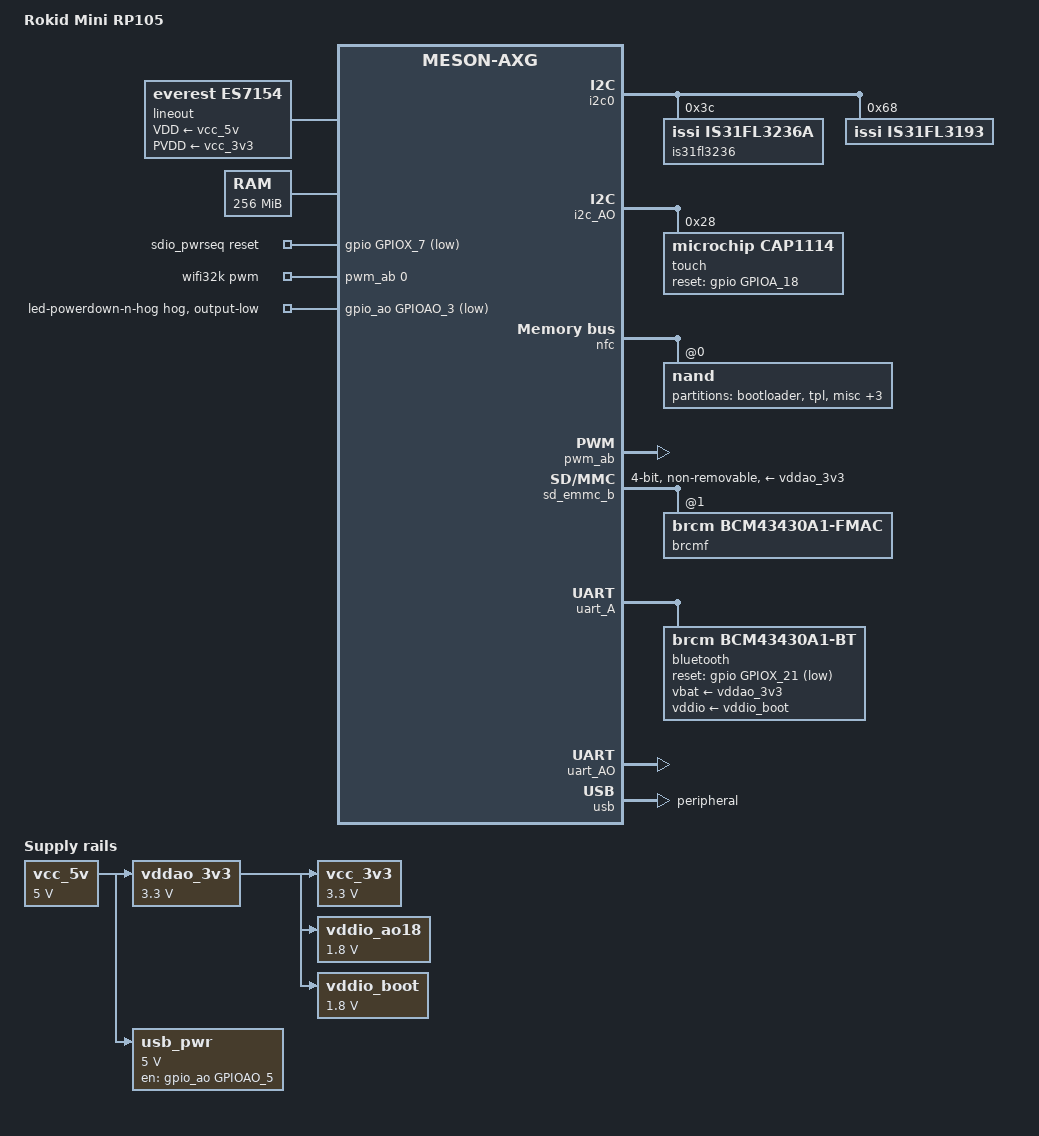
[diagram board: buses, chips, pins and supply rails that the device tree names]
// SPDX-License-Identifier: (GPL-2.0+ OR MIT)
/*
 * Copyright (c) 2026 Jun Yan <jerrysteve1101@gmail.com>
 */

/dts-v1/;

#include "meson-axg.dtsi"
#include <dt-bindings/leds/common.h>

/ {
	model = "Rokid Mini RP105";
	compatible = "lingban,rokid-mini-rp105", "amlogic,a113d", "amlogic,meson-axg";
	chassis-type = "embedded";

	aliases {
		serial0 = &uart_AO;
		ethernet0 = &brcmf;
	};

	lineout: audio-codec-1 {
		#sound-dai-cells = <0>;
		compatible = "everest,es7154";
		VDD-supply = <&vcc_5v>;
		PVDD-supply = <&vcc_3v3>;
		sound-name-prefix = "Lineout";
	};

	chosen {
		stdout-path = "serial0:115200n8";
	};

	/* 256MB RAM */
	memory@0 {
		device_type = "memory";
		reg = <0x0 0x0 0x0 0x10000000>;
	};

	vcc_3v3: regulator-vcc-3v3 {
		compatible = "regulator-fixed";
		regulator-name = "VCC_3V3";
		regulator-min-microvolt = <3300000>;
		regulator-max-microvolt = <3300000>;
		vin-supply = <&vddao_3v3>;
		regulator-always-on;
	};

	vcc_5v: regulator-vcc-5v {
		compatible = "regulator-fixed";
		regulator-name = "VCC5V";
		regulator-min-microvolt = <5000000>;
		regulator-max-microvolt = <5000000>;
		regulator-always-on;
	};

	vddao_3v3: regulator-vddao-3v3 {
		compatible = "regulator-fixed";
		regulator-name = "VDDAO_3V3";
		regulator-min-microvolt = <3300000>;
		regulator-max-microvolt = <3300000>;
		vin-supply = <&vcc_5v>;
		regulator-always-on;
	};

	vddio_ao18: regulator-vddio-ao18 {
		compatible = "regulator-fixed";
		regulator-name = "VDDIO_AO18";
		regulator-min-microvolt = <1800000>;
		regulator-max-microvolt = <1800000>;
		vin-supply = <&vddao_3v3>;
		regulator-always-on;
	};

	vddio_boot: regulator-vddio-boot {
		compatible = "regulator-fixed";
		regulator-name = "VDDIO_BOOT";
		regulator-min-microvolt = <1800000>;
		regulator-max-microvolt = <1800000>;
		vin-supply = <&vddao_3v3>;
		regulator-always-on;
	};

	usb_pwr: regulator-usb-pwr {
		compatible = "regulator-fixed";
		regulator-name = "USB_PWR";
		regulator-min-microvolt = <5000000>;
		regulator-max-microvolt = <5000000>;
		vin-supply = <&vcc_5v>;

		gpio = <&gpio_ao GPIOAO_5 GPIO_ACTIVE_HIGH>;
		enable-active-high;
	};

	sdio_pwrseq: sdio-pwrseq {
		compatible = "mmc-pwrseq-simple";
		clocks = <&wifi32k>;
		clock-names = "ext_clock";
		reset-gpios = <&gpio GPIOX_7 GPIO_ACTIVE_LOW>;
	};

	wifi32k: wifi32k {
		compatible = "pwm-clock";
		#clock-cells = <0>;
		clock-frequency = <32768>;
		pwms = <&pwm_ab 0 30518 0>; /* PWM_A at 32.768KHz */
	};
};

&gpio_ao {
	/*
	 * IS31FL3236 and IS31FL3193 share the same SDB GPIO pin.
	 * Drivers cannot control it concurrently, hence using GPIO hog.
	 */
	led-powerdown-n-hog {
		gpios = <GPIOAO_3 GPIO_ACTIVE_LOW>;
		gpio-hog;
		line-name = "led-powerdown-n-hog";
		output-low;
	};
};

&i2c0 {
	status = "okay";
	pinctrl-0 = <&i2c0_pins>;
	pinctrl-names = "default";

	is31fl3236: led-controller@3c {
		compatible = "issi,is31fl3236a";
		reg = <0x3c>;
		#address-cells = <1>;
		#size-cells = <0>;

		issi,22khz-pwm;

		/* Each set of three channels drives one RGB LED,
		with a total of 12 circular RGB LEDs connected.*/
		led@1 {
			reg = <1>;
			function = LED_FUNCTION_INDICATOR;
			color = <LED_COLOR_ID_GREEN>;
			function-enumerator = <1>;
		};

		led@2 {
			reg = <2>;
			function = LED_FUNCTION_INDICATOR;
			color = <LED_COLOR_ID_BLUE>;
			function-enumerator = <1>;
		};

		led@3 {
			reg = <3>;
			function = LED_FUNCTION_INDICATOR;
			color = <LED_COLOR_ID_RED>;
			function-enumerator = <1>;
		};

		led@4 {
			reg = <4>;
			function = LED_FUNCTION_INDICATOR;
			color = <LED_COLOR_ID_GREEN>;
			function-enumerator = <2>;
		};

		led@5 {
			reg = <5>;
			function = LED_FUNCTION_INDICATOR;
			color = <LED_COLOR_ID_BLUE>;
			function-enumerator = <2>;
		};

		led@6 {
			reg = <6>;
			function = LED_FUNCTION_INDICATOR;
			color = <LED_COLOR_ID_RED>;
			function-enumerator = <2>;
		};

		led@7 {
			reg = <7>;
			function = LED_FUNCTION_INDICATOR;
			color = <LED_COLOR_ID_GREEN>;
			function-enumerator = <3>;
		};

		led@8 {
			reg = <8>;
			function = LED_FUNCTION_INDICATOR;
			color = <LED_COLOR_ID_BLUE>;
			function-enumerator = <3>;
		};

		led@9 {
			reg = <9>;
			function = LED_FUNCTION_INDICATOR;
			color = <LED_COLOR_ID_RED>;
			function-enumerator = <3>;
		};

		led@a {
			reg = <10>;
			function = LED_FUNCTION_INDICATOR;
			color = <LED_COLOR_ID_GREEN>;
			function-enumerator = <4>;
		};

		led@b {
			reg = <11>;
			function = LED_FUNCTION_INDICATOR;
			color = <LED_COLOR_ID_BLUE>;
			function-enumerator = <4>;
		};

		led@c {
			reg = <12>;
			function = LED_FUNCTION_INDICATOR;
			color = <LED_COLOR_ID_RED>;
			function-enumerator = <4>;
		};

		led@d {
			reg = <13>;
			function = LED_FUNCTION_INDICATOR;
			color = <LED_COLOR_ID_GREEN>;
			function-enumerator = <5>;
		};

		led@e {
			reg = <14>;
			function = LED_FUNCTION_INDICATOR;
			color = <LED_COLOR_ID_BLUE>;
			function-enumerator = <5>;
		};

		led@f {
			reg = <15>;
			function = LED_FUNCTION_INDICATOR;
			color = <LED_COLOR_ID_RED>;
			function-enumerator = <5>;
		};

		led@10 {
			reg = <16>;
			function = LED_FUNCTION_INDICATOR;
			color = <LED_COLOR_ID_GREEN>;
			function-enumerator = <6>;
		};

		led@11 {
			reg = <17>;
			function = LED_FUNCTION_INDICATOR;
			color = <LED_COLOR_ID_BLUE>;
			function-enumerator = <6>;
		};

		led@12 {
			reg = <18>;
			function = LED_FUNCTION_INDICATOR;
			color = <LED_COLOR_ID_RED>;
			function-enumerator = <6>;
		};

		led@13 {
			reg = <19>;
			function = LED_FUNCTION_INDICATOR;
			color = <LED_COLOR_ID_GREEN>;
			function-enumerator = <7>;
		};

		led@14 {
			reg = <20>;
			function = LED_FUNCTION_INDICATOR;
			color = <LED_COLOR_ID_BLUE>;
			function-enumerator = <7>;
		};

		led@15 {
			reg = <21>;
			function = LED_FUNCTION_INDICATOR;
			color = <LED_COLOR_ID_RED>;
			function-enumerator = <7>;
		};

		led@16 {
			reg = <22>;
			function = LED_FUNCTION_INDICATOR;
			color = <LED_COLOR_ID_GREEN>;
			function-enumerator = <8>;
		};

		led@17 {
			reg = <23>;
			function = LED_FUNCTION_INDICATOR;
			color = <LED_COLOR_ID_BLUE>;
			function-enumerator = <8>;
		};

		led@18 {
			reg = <24>;
			function = LED_FUNCTION_INDICATOR;
			color = <LED_COLOR_ID_RED>;
			function-enumerator = <8>;
		};

		led@19 {
			reg = <25>;
			function = LED_FUNCTION_INDICATOR;
			color = <LED_COLOR_ID_GREEN>;
			function-enumerator = <9>;
		};

		led@1a {
			reg = <26>;
			function = LED_FUNCTION_INDICATOR;
			color = <LED_COLOR_ID_BLUE>;
			function-enumerator = <9>;
		};

		led@1b {
			reg = <27>;
			function = LED_FUNCTION_INDICATOR;
			color = <LED_COLOR_ID_RED>;
			function-enumerator = <9>;
		};

		led@1c {
			reg = <28>;
			function = LED_FUNCTION_INDICATOR;
			color = <LED_COLOR_ID_GREEN>;
			function-enumerator = <10>;
		};

		led@1d {
			reg = <29>;
			function = LED_FUNCTION_INDICATOR;
			color = <LED_COLOR_ID_BLUE>;
			function-enumerator = <10>;
		};

		led@1e {
			reg = <30>;
			function = LED_FUNCTION_INDICATOR;
			color = <LED_COLOR_ID_RED>;
			function-enumerator = <10>;
		};

		led@1f {
			reg = <31>;
			function = LED_FUNCTION_INDICATOR;
			color = <LED_COLOR_ID_GREEN>;
			function-enumerator = <11>;
		};

		led@20 {
			reg = <32>;
			function = LED_FUNCTION_INDICATOR;
			color = <LED_COLOR_ID_BLUE>;
			function-enumerator = <11>;
		};

		led@21 {
			reg = <33>;
			function = LED_FUNCTION_INDICATOR;
			color = <LED_COLOR_ID_RED>;
			function-enumerator = <11>;
		};

		led@22 {
			reg = <34>;
			function = LED_FUNCTION_INDICATOR;
			color = <LED_COLOR_ID_GREEN>;
			function-enumerator = <12>;
		};

		led@23 {
			reg = <35>;
			function = LED_FUNCTION_INDICATOR;
			color = <LED_COLOR_ID_BLUE>;
			function-enumerator = <12>;
		};

		led@24 {
			reg = <36>;
			function = LED_FUNCTION_INDICATOR;
			color = <LED_COLOR_ID_RED>;
			function-enumerator = <12>;
		};
	};

	is31fl3193: led-controller@68 {
		compatible = "issi,is31fl3193";
		reg = <0x68>;
		#address-cells = <1>;
		#size-cells = <0>;

		/* Three channels are connected to the central RGB LED. */
		led@1 {
			reg = <1>;
			function = LED_FUNCTION_INDICATOR;
			color = <LED_COLOR_ID_RED>;
			function-enumerator = <0>;
		};

		led@2 {
			reg = <2>;
			function = LED_FUNCTION_INDICATOR;
			color = <LED_COLOR_ID_GREEN>;
			function-enumerator = <0>;
		};

		led@3 {
			reg = <3>;
			function = LED_FUNCTION_INDICATOR;
			color = <LED_COLOR_ID_BLUE>;
			function-enumerator = <0>;
		};
	};
};

&i2c_AO {
	status = "okay";
	pinctrl-0 = <&i2c_ao_sck_10_pins>, <&i2c_ao_sda_11_pins>;
	pinctrl-names = "default";

	touch@28 {
		compatible = "microchip,cap1114";
		reg = <0x28>;
		autorepeat;
		interrupt-parent = <&gpio_intc>;
		interrupts = <6 IRQ_TYPE_LEVEL_HIGH>; /* GPIOAO_6 */
		interrupt-names = "alert";
		reset-gpios = <&gpio GPIOA_18 GPIO_ACTIVE_HIGH>;

		linux,keycodes = <2>, /* KEY_1 */
						<3>, /* KEY_2 */
						<4>, /* KEY_3 */
						<5>, /* KEY_4 */
						<6>, /* KEY_5 */
						<7>, /* KEY_6 */
						<8>, /* KEY_7 */
						<9>, /* KEY_8 */
						<11>, /* KEY_0 */
						<10>, /* KEY_9 */
						<59>, /* KEY_F1 */
						<60>, /* KEY_F2 */
						<61>, /* KEY_F3 */
						<62>; /* KEY_F4 */
	};
};

&nfc {
	status = "okay";

	nand@0 {
		reg = <0>;
		#address-cells = <1>;
		#size-cells = <1>;

		nand-ecc-mode = "hw";
		nand-ecc-step-size = <1024>;
		nand-ecc-strength = <8>;
		nand-is-boot-medium;
		nand-rb = <0>;

		amlogic,boot-pages = <1024>;
    	amlogic,boot-page-step = <128>;

		partition@0 {
			label = "bootloader";
			reg = <0x0 0x200000>;
		};

		partition@800000 {
			label = "tpl";
			reg = <0x800000 0x800000>;
		};

		partition@1000000 {
			label = "misc";
			reg = <0x1000000 0x200000>;
		};

		partition@1200000 {
			label = "recovery";
			reg = <0x1200000 0x1000000>;
		};

		partition@2200000 {
			label = "boot";
			reg = <0x2200000 0xa00000>;
		};

		partition@2c00000 {
			label = "system";
			reg = <0x2c00000 0x1d400000>;
		};
	};
};

&pwm_ab {
	status = "okay";
	pinctrl-0 = <&pwm_a_x20_pins>;
	pinctrl-names = "default";
};

/* wifi module */
&sd_emmc_b {
	status = "okay";
	#address-cells = <1>;
	#size-cells = <0>;

	pinctrl-0 = <&sdio_pins>;
	pinctrl-1 = <&sdio_clk_gate_pins>;
	pinctrl-names = "default", "clk-gate";

	bus-width = <4>;
	cap-sd-highspeed;
	sd-uhs-sdr104;
	max-frequency = <200000000>;
	non-removable;
	disable-wp;

	mmc-pwrseq = <&sdio_pwrseq>;

	vmmc-supply = <&vddao_3v3>;
	vqmmc-supply = <&vddio_boot>;

	brcmf: wifi@1 {
		reg = <1>;
		compatible = "brcm,bcm43430a1-fmac", "brcm,bcm4329-fmac";
	};
};

&uart_A {
	status = "okay";
	pinctrl-0 = <&uart_a_pins>, <&uart_a_cts_rts_pins>;
	pinctrl-names = "default";
	uart-has-rtscts;

	bluetooth {
		compatible = "brcm,bcm43430a1-bt";
		clocks = <&wifi32k>;
		clock-names = "lpo";
		reset-gpios = <&gpio GPIOX_21 GPIO_ACTIVE_LOW>;
		vbat-supply = <&vddao_3v3>;
		vddio-supply = <&vddio_boot>;
	};
};

&uart_AO {
	status = "okay";
	pinctrl-0 = <&uart_ao_a_pins>;
	pinctrl-names = "default";
};

&usb {
	status = "okay";
	dr_mode = "peripheral";
};
